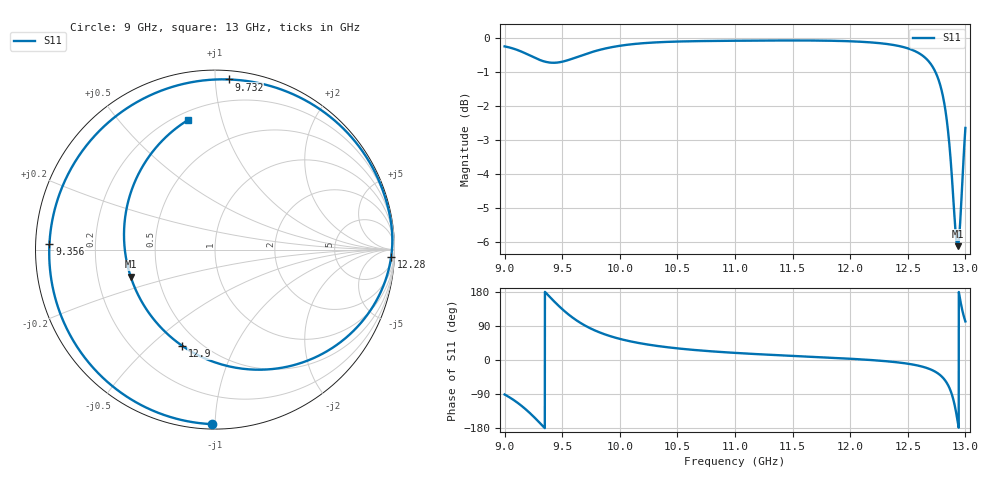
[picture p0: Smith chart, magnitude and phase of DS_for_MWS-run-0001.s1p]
! TOUCHSTONE file generated by CST DESIGN STUDIO
! Date and time: Tue Feb  4 16:43:42 2025
! Project name: C:\Work\MatlabApps\UnitCellOptimizationMatlab\CST\unitcell.cst
! Tree item: Tasks\Sweep1\SPara1\S-Parameters
! Header version: 2024
! Port assignment regex: !\s*Touchstone port\s*([0-9]+)\s*=\s*(CST MWS port|CST DES external port|CST DES block port)\s*(.+)\s* \(\"(.*)\"\)(\s*mode\s*([0-9]+))?.*
! Touchstone port assignment:
! Touchstone port 1 = CST DES external port 1 ("")
# GHz S MA R 50
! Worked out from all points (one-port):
!   4001 points, 9 GHz to 13 GHz, reference 50 ohm
!   lowest |S11| = -6.1 dB at 12.93 GHz (marker M1), VSWR 2.95, Z = 17.3 - j6.89 ohm
!   |S11| at or under -10 dB: nowhere
!   S11 on the Smith chart (normalised r, x): 9 GHz: 0.03, -0.98; 9.356 GHz: 0.04, +0.02; 9.732 GHz: 0.05, +1.08; 12.28 GHz: 19, -42; 12.9 GHz: 0.40, -0.64; 13 GHz: 0.25, +0.78
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9  0.9726 -91.0
9.094  0.963 -108.8
9.177  0.9504 -128.5
9.275  0.9334 -156.5
9.356  0.9229 177.9
9.422  0.92 157.1
9.5  0.9232 134.3
9.605  0.9349 108.6
9.732  0.9511 85.4
9.858  0.9642 69.0
10  0.9745 55.7
10.216  0.9836 42.1
10.5  0.9887 30.7
11  0.9914 18.8
11.5  0.9924 10.8
12  0.9896 3.3
12.276  0.9825 -2.3
12.5  0.9662 -9.8
12.666  0.9305 -21.2
12.767  0.8684 -36.5
12.803  0.8242 -46.2
12.835  0.7649 -58.7
12.871  0.6651 -80.8
12.899  0.5665 -108.7
12.933  0.4935 -162.2
12.96  0.5548 150.3
12.982  0.6559 120.2
13  0.7374 101.8
